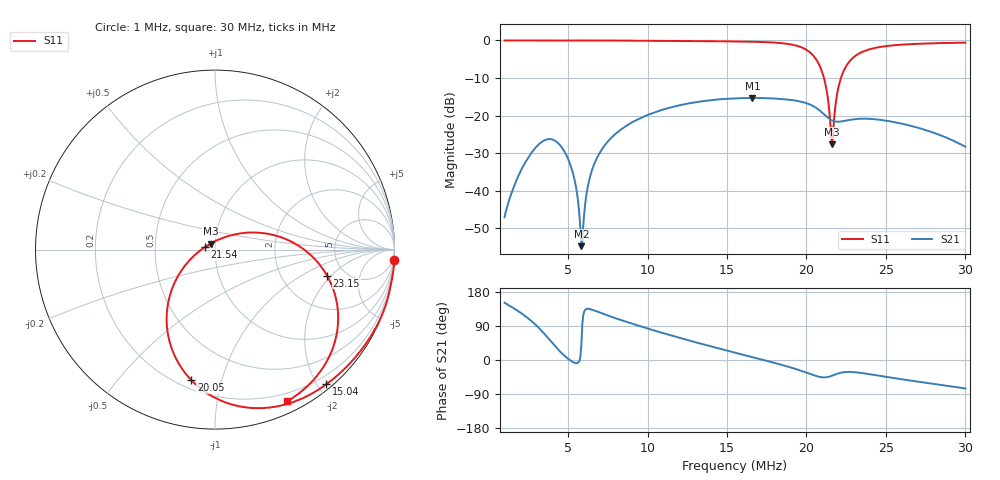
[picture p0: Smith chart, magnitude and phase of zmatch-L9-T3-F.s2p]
# HZ S RI R 50
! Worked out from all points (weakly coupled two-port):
!   505 points, 1 MHz to 30 MHz, reference 50 ohm
!   highest |S21| = -15.29 dB at 16.59 MHz (marker M1); lowest = -54.7 dB at 5.833 MHz (marker M2)
!   lowest |S11| = -27.6 dB at 21.6 MHz (marker M3), VSWR 1.09, Z = 47.5 + j3.22 ohm
!   |S11| at or under -10 dB: 21.1 MHz to 22.17 MHz (1.07 MHz wide, 4.95 % of centre)
!   S12 and S22 are empty: the file has one direction only
!   S11 on the Smith chart (normalised r, x): 1 MHz: -1, -36; 15.04 MHz: 0.07, -2.12; 20.05 MHz: 0.25, -0.80; 21.54 MHz: 0.89, +0.03; 23.15 MHz: 3.63, -1.79; 30 MHz: 0.12, -1.58
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1000000  0.9996 -0.0554  -0.0039 0.00216  0 0  0 0
2438500  0.9917 -0.1314  -0.00971 0.0248  0 0  0 0
3934540  0.9771 -0.2082  0.0324 0.0362  0 0  0 0
5200420  0.9618 -0.2738  0.0202 -0.001  0 0  0 0
5545660  0.9565 -0.2919  0.00947 -0.00139  0 0  0 0
5833360  0.9518 -0.3071  0.00133 0.00127  0 0  0 0
6351220  0.9423 -0.3342  -0.0102 0.0105  0 0  0 0
7099240  0.9267 -0.3726  -0.0195 0.0291  0 0  0 0
1.066672e7  0.8239 -0.5476  0.0304 0.1109  0 0  0 0
1.503976e7  0.6201 -0.7504  0.1531 0.0689  0 0  0 0
1.550008e7  0.5892 -0.7719  0.1603 0.0561  0 0  0 0
1.659334e7  0.5009 -0.8221  0.1705 0.0225  0 0  0 0
1.889494e7  0.1706 -0.8788  0.1548 -0.0511  0 0  0 0
2.004574e7  -0.1315 -0.7277  0.1203 -0.0815  0 0  0 0
2.033344e7  -0.2065 -0.6273  0.1073 -0.0852  0 0  0 0
2.108146e7  -0.2399 -0.22  0.0733 -0.0757  0 0  0 0
2.154178e7  -0.0562 0.0141  0.065 -0.0595  0 0  0 0
2.159932e7  -0.0242 0.0339  0.0648 -0.0576  0 0  0 0
2.217472e7  0.3085 0.0853  0.0698 -0.0461  0 0  0 0
2.31529e7  0.6242 -0.145  0.076 -0.0488  0 0  0 0
2.51668e7  0.6624 -0.5318  0.0594 -0.0603  0 0  0 0
3.000016e7  0.4024 -0.8454  0.00993 -0.0373  0 0  0 0
